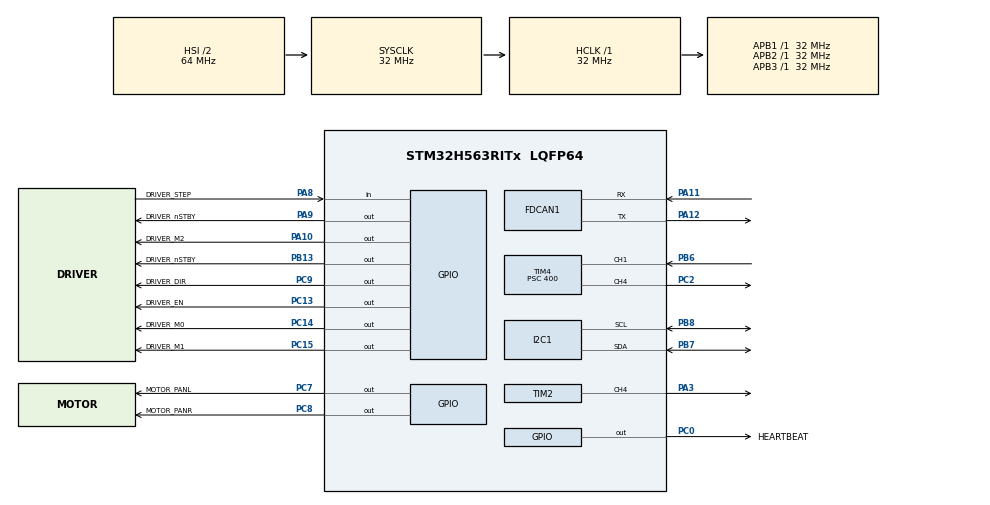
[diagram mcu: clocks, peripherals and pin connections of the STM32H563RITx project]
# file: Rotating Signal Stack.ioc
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BOOTPATH.BootPathName=LEGACY
BOOTPATH.UserSelectedBootPath=LEGACY
CORTEX_M33_NS.Number-Cortex_Memory_Protection_Unit_Region0_OTP_RO_AREAS_Settings=MPU_REGION_NUMBER0
CORTEX_M33_NS.default_mode_Activation=1
CORTEX_M33_NS.userName=CORTEX_M33
FDCAN1.CalculateBaudRateNominal=1791666
FDCAN1.CalculateTimeBitNominal=558
FDCAN1.CalculateTimeQuantumNominal=186.04651162790697
I2C1.Timing=0x00707CBB
Mcu.Family=STM32H5
Mcu.Name=STM32H563RITx
Mcu.Package=LQFP64
NVIC.PriorityGroup=NVIC_PRIORITYGROUP_4
NVIC.TIM2_IRQn=true\:0\:0\:false\:false\:true\:true\:true\:true
PA10.GPIO_Label=DRIVER_M2
PA10.Signal=GPIO_Output
PA11.Mode=FDCAN_Activate
PA11.Signal=FDCAN1_RX
PA12.Mode=FDCAN_Activate
PA12.Signal=FDCAN1_TX
PA13(JTMS/SWDIO).Mode=JTAG_4_pins
PA13(JTMS/SWDIO).Signal=DEBUG_JTMS-SWDIO
PA14(JTCK/SWCLK).Mode=JTAG_4_pins
PA14(JTCK/SWCLK).Signal=DEBUG_JTCK-SWCLK
PA15(JTDI).Mode=JTAG_4_pins
PA15(JTDI).Signal=DEBUG_JTDI
PA3.Signal=S_TIM2_CH4
PA8.GPIO_Label=DRIVER_STEP
PA8.Signal=GPIO_Input
PA9.GPIO_Label=DRIVER_nSTBY
PA9.Signal=GPIO_Output
PB13.GPIO_Label=DRIVER_nSTBY
PB13.Signal=GPIO_Output
PB3(JTDO/TRACESWO).Mode=JTAG_4_pins
PB3(JTDO/TRACESWO).Signal=DEBUG_JTDO-SWO
PB6.Signal=S_TIM4_CH1
PB7.Mode=I2C
PB7.Signal=I2C1_SDA
PB8.Mode=I2C
PB8.Signal=I2C1_SCL
PC0.GPIO_Label=HEARTBEAT
PC0.PinState=GPIO_PIN_SET
PC0.Signal=GPIO_Output
PC13.GPIO_Label=DRIVER_EN
PC13.Signal=GPIO_Output
PC14-OSC32_IN(OSC32_IN).GPIO_Label=DRIVER_M0
PC14-OSC32_IN(OSC32_IN).Signal=GPIO_Output
PC15-OSC32_OUT(OSC32_OUT).GPIO_Label=DRIVER_M1
PC15-OSC32_OUT(OSC32_OUT).Signal=GPIO_Output
PC2.Signal=S_TIM4_CH4
PC7.GPIO_Label=MOTOR_PANL
PC7.Signal=GPIO_Output
PC8.GPIO_Label=MOTOR_PANR
PC8.Signal=GPIO_Output
PC9.GPIO_Label=DRIVER_DIR
PC9.Signal=GPIO_Output
ProjectManager.HeapSize=0x200
ProjectManager.StackSize=0x400
ProjectManager.TargetToolchain=STM32CubeIDE
RCC.ADCFreq_Value=32000000
RCC.AHBFreq_Value=32000000
RCC.APB1Freq_Value=32000000
RCC.APB1TimFreq_Value=32000000
RCC.APB2Freq_Value=32000000
RCC.APB2TimFreq_Value=32000000
RCC.APB3Freq_Value=32000000
RCC.CSI_VALUE=4000000
RCC.CortexFreq_Value=32000000
RCC.EPOD_VALUE=4000000
RCC.FDCANClockSelection=RCC_FDCANCLKSOURCE_PLL1Q
RCC.HCLKFreq_Value=32000000
RCC.HSE_VALUE=25000000
RCC.HSI48_VALUE=48000000
RCC.HSI_VALUE=64000000
RCC.LSE_VALUE=32768
RCC.LSIRC_VALUE=32000
RCC.PLL1Q=6
RCC.SYSCLKFreq_VALUE=32000000
RCC.USBFreq_Value=48000000
RCC.VCOOutputFreq_Value=516000000
SH.S_TIM2_CH4.0=TIM2_CH4,PWM Generation4 CH4
SH.S_TIM4_CH1.0=TIM4_CH1,PWM_Input_1
SH.S_TIM4_CH4.0=TIM4_CH4,PWM Generation4 CH4
TIM2.Channel-PWM\ Generation4\ CH4=TIM_CHANNEL_4
TIM2.PeriodNoDither=(32000000/20000) 
TIM2.Prescaler=20000
TIM4.Channel-PWM\ Generation4\ CH4=TIM_CHANNEL_4
TIM4.PeriodNoDither=300
TIM4.Prescaler=400
VP_BOOTPATH_VS_BOOTPATH.Mode=BP_Activate
VP_CORTEX_M33_NS_VS_Hclk.Mode=Hclk_Mode
VP_ICACHE_VS_ICACHE.Mode=DirectMappedCache
VP_MEMORYMAP_VS_MEMORYMAP.Mode=CurAppReg
VP_PWR_VS_LPOM.Mode=PowerOptimisation
VP_PWR_VS_SECSignals.Mode=Security/Privilege
VP_TIM2_VS_ClockSourceINT.Mode=Internal
VP_TIM4_VS_ClockSourceINT.Mode=Internal
board=custom

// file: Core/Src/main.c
/* USER CODE BEGIN Header */
/**
  ******************************************************************************
  * @file           : main.c
  * @brief          : Main program body
  ******************************************************************************
  * @attention
  *
  * Copyright (c) 2026 STMicroelectronics.
  * All rights reserved.
  *
  * This software is licensed under terms that can be found in the LICENSE file
  * in the root directory of this software component.
  * If no LICENSE file comes with this software, it is provided AS-IS.
  *
  ******************************************************************************
  */
/* USER CODE END Header */
#include "main.h"

/* USER CODE BEGIN PD */
#define TIM_DAY 1
/* USER CODE END PD */

FDCAN_HandleTypeDef hfdcan1;

I2C_HandleTypeDef hi2c1;

TIM_HandleTypeDef htim2;
TIM_HandleTypeDef htim4;

void SystemClock_Config(void);
static void MPU_Config(void);
static void MX_GPIO_Init(void);
static void MX_ICACHE_Init(void);
static void MX_FDCAN1_Init(void);
static void MX_I2C1_Init(void);
static void MX_TIM2_Init(void);
static void MX_TIM4_Init(void);
/* USER CODE BEGIN PFP */
void HAL_TIM_PeriodElapsedCallback(TIM_HandleTypeDef *htim) {
    if (htim->Instance == TIM2) {
    	HAL_GPIO_TogglePin(HEARTBEAT_GPIO_Port, HEARTBEAT_Pin);

    }
}
/* USER CODE END PFP */

int main(void)
{

  /* MCU Configuration--------------------------------------------------------*/

  /* MPU Configuration--------------------------------------------------------*/
  MPU_Config();

  /* Reset of all peripherals, Initializes the Flash interface and the Systick. */
  HAL_Init();

  /* Configure the system clock */
  SystemClock_Config();

  /* Initialize all configured peripherals */
  MX_GPIO_Init();
  MX_ICACHE_Init();
  MX_FDCAN1_Init();
  MX_I2C1_Init();
  MX_TIM2_Init();
  MX_TIM4_Init();
  /* USER CODE BEGIN 2 */
  HAL_TIM_Base_Start_IT(&htim2);
  __HAL_RCC_TIM2_CLK_ENABLE();
  HAL_GPIO_WritePin(DRIVER_M0_GPIO_Port, DRIVER_M0_Pin, GPIO_PIN_RESET);
  HAL_GPIO_WritePin(DRIVER_M1_GPIO_Port, DRIVER_M1_Pin, GPIO_PIN_RESET);
  HAL_GPIO_WritePin(DRIVER_M2_GPIO_Port, DRIVER_M2_Pin, GPIO_PIN_RESET);
  HAL_GPIO_WritePin(DRIVER_DIRECTION_GPIO_Port, DRIVER_DIRECTION_Pin, GPIO_PIN_SET);
  HAL_GPIO_WritePin(DRIVER_nSTBY_GPIO_Port, DRIVER_nSTBY_Pin, GPIO_PIN_SET);
  HAL_GPIO_WritePin(DRIVER_EN_GPIO_Port, DRIVER_EN_Pin, GPIO_PIN_SET);
  HAL_TIM_PWM_Start(&htim4, TIM_CHANNEL_4);
  __HAL_TIM_SET_COMPARE(&htim4, TIM_CHANNEL_4, 50);
  /* USER CODE END 2 */

  /* Infinite loop */
  /* USER CODE BEGIN WHILE */
  while (TIM_DAY)
  {
    /* USER CODE END WHILE */

  }
}

void SystemClock_Config(void)
{
  RCC_OscInitTypeDef RCC_OscInitStruct = {0};
  RCC_ClkInitTypeDef RCC_ClkInitStruct = {0};

  /** Configure the main internal regulator output voltage
  */
  __HAL_PWR_VOLTAGESCALING_CONFIG(PWR_REGULATOR_VOLTAGE_SCALE3);

  while(!__HAL_PWR_GET_FLAG(PWR_FLAG_VOSRDY)) {}

  /** Initializes the RCC Oscillators according to the specified parameters
  * in the RCC_OscInitTypeDef structure.
  */
  RCC_OscInitStruct.OscillatorType = RCC_OSCILLATORTYPE_HSI|RCC_OSCILLATORTYPE_CSI;
  RCC_OscInitStruct.HSIState = RCC_HSI_ON;
  RCC_OscInitStruct.HSIDiv = RCC_HSI_DIV2;
  RCC_OscInitStruct.HSICalibrationValue = RCC_HSICALIBRATION_DEFAULT;
  RCC_OscInitStruct.CSIState = RCC_CSI_ON;
  RCC_OscInitStruct.CSICalibrationValue = RCC_CSICALIBRATION_DEFAULT;
  RCC_OscInitStruct.PLL.PLLState = RCC_PLL_ON;
  RCC_OscInitStruct.PLL.PLLSource = RCC_PLL1_SOURCE_CSI;
  RCC_OscInitStruct.PLL.PLLM = 1;
  RCC_OscInitStruct.PLL.PLLN = 129;
  RCC_OscInitStruct.PLL.PLLP = 2;
  RCC_OscInitStruct.PLL.PLLQ = 6;
  RCC_OscInitStruct.PLL.PLLR = 2;
  RCC_OscInitStruct.PLL.PLLRGE = RCC_PLL1_VCIRANGE_2;
  RCC_OscInitStruct.PLL.PLLVCOSEL = RCC_PLL1_VCORANGE_WIDE;
  RCC_OscInitStruct.PLL.PLLFRACN = 0;
  if (HAL_RCC_OscConfig(&RCC_OscInitStruct) != HAL_OK)
  {
    Error_Handler();
  }

  /** Initializes the CPU, AHB and APB buses clocks
  */
  RCC_ClkInitStruct.ClockType = RCC_CLOCKTYPE_HCLK|RCC_CLOCKTYPE_SYSCLK
                              |RCC_CLOCKTYPE_PCLK1|RCC_CLOCKTYPE_PCLK2
                              |RCC_CLOCKTYPE_PCLK3;
  RCC_ClkInitStruct.SYSCLKSource = RCC_SYSCLKSOURCE_HSI;
  RCC_ClkInitStruct.AHBCLKDivider = RCC_SYSCLK_DIV1;
  RCC_ClkInitStruct.APB1CLKDivider = RCC_HCLK_DIV1;
  RCC_ClkInitStruct.APB2CLKDivider = RCC_HCLK_DIV1;
  RCC_ClkInitStruct.APB3CLKDivider = RCC_HCLK_DIV1;

  if (HAL_RCC_ClockConfig(&RCC_ClkInitStruct, FLASH_LATENCY_1) != HAL_OK)
  {
    Error_Handler();
  }

  /** Configure the programming delay
  */
  __HAL_FLASH_SET_PROGRAM_DELAY(FLASH_PROGRAMMING_DELAY_0);
}

static void MX_FDCAN1_Init(void)
{

  hfdcan1.Instance = FDCAN1;
  hfdcan1.Init.ClockDivider = FDCAN_CLOCK_DIV1;
  hfdcan1.Init.FrameFormat = FDCAN_FRAME_CLASSIC;
  hfdcan1.Init.Mode = FDCAN_MODE_NORMAL;
  hfdcan1.Init.AutoRetransmission = DISABLE;
  hfdcan1.Init.TransmitPause = DISABLE;
  hfdcan1.Init.ProtocolException = DISABLE;
  hfdcan1.Init.NominalPrescaler = 16;
  hfdcan1.Init.NominalSyncJumpWidth = 1;
  hfdcan1.Init.NominalTimeSeg1 = 1;
  hfdcan1.Init.NominalTimeSeg2 = 1;
  hfdcan1.Init.DataPrescaler = 1;
  hfdcan1.Init.DataSyncJumpWidth = 1;
  hfdcan1.Init.DataTimeSeg1 = 1;
  hfdcan1.Init.DataTimeSeg2 = 1;
  hfdcan1.Init.StdFiltersNbr = 0;
  hfdcan1.Init.ExtFiltersNbr = 0;
  hfdcan1.Init.TxFifoQueueMode = FDCAN_TX_FIFO_OPERATION;
  if (HAL_FDCAN_Init(&hfdcan1) != HAL_OK)
  {
    Error_Handler();
  }

}

static void MX_I2C1_Init(void)
{

  hi2c1.Instance = I2C1;
  hi2c1.Init.Timing = 0x00707CBB;
  hi2c1.Init.OwnAddress1 = 0;
  hi2c1.Init.AddressingMode = I2C_ADDRESSINGMODE_7BIT;
  hi2c1.Init.DualAddressMode = I2C_DUALADDRESS_DISABLE;
  hi2c1.Init.OwnAddress2 = 0;
  hi2c1.Init.OwnAddress2Masks = I2C_OA2_NOMASK;
  hi2c1.Init.GeneralCallMode = I2C_GENERALCALL_DISABLE;
  hi2c1.Init.NoStretchMode = I2C_NOSTRETCH_DISABLE;
  if (HAL_I2C_Init(&hi2c1) != HAL_OK)
  {
    Error_Handler();
  }

  /** Configure Analogue filter
  */
  if (HAL_I2CEx_ConfigAnalogFilter(&hi2c1, I2C_ANALOGFILTER_ENABLE) != HAL_OK)
  {
    Error_Handler();
  }

  /** Configure Digital filter
  */
  if (HAL_I2CEx_ConfigDigitalFilter(&hi2c1, 0) != HAL_OK)
  {
    Error_Handler();
  }

}

static void MX_ICACHE_Init(void)
{

  /** Enable instruction cache in 1-way (direct mapped cache)
  */
  if (HAL_ICACHE_ConfigAssociativityMode(ICACHE_1WAY) != HAL_OK)
  {
    Error_Handler();
  }
  if (HAL_ICACHE_Enable() != HAL_OK)
  {
    Error_Handler();
  }

}

static void MX_TIM2_Init(void)
{

  TIM_ClockConfigTypeDef sClockSourceConfig = {0};
  TIM_MasterConfigTypeDef sMasterConfig = {0};
  TIM_OC_InitTypeDef sConfigOC = {0};

  htim2.Instance = TIM2;
  htim2.Init.Prescaler = 20000;
  htim2.Init.CounterMode = TIM_COUNTERMODE_UP;
  htim2.Init.Period = 1600;
  htim2.Init.ClockDivision = TIM_CLOCKDIVISION_DIV1;
  htim2.Init.AutoReloadPreload = TIM_AUTORELOAD_PRELOAD_DISABLE;
  if (HAL_TIM_Base_Init(&htim2) != HAL_OK)
  {
    Error_Handler();
  }
  sClockSourceConfig.ClockSource = TIM_CLOCKSOURCE_INTERNAL;
  if (HAL_TIM_ConfigClockSource(&htim2, &sClockSourceConfig) != HAL_OK)
  {
    Error_Handler();
  }
  if (HAL_TIM_PWM_Init(&htim2) != HAL_OK)
  {
    Error_Handler();
  }
  sMasterConfig.MasterOutputTrigger = TIM_TRGO_RESET;
  sMasterConfig.MasterSlaveMode = TIM_MASTERSLAVEMODE_DISABLE;
  if (HAL_TIMEx_MasterConfigSynchronization(&htim2, &sMasterConfig) != HAL_OK)
  {
    Error_Handler();
  }
  sConfigOC.OCMode = TIM_OCMODE_PWM1;
  sConfigOC.Pulse = 0;
  sConfigOC.OCPolarity = TIM_OCPOLARITY_HIGH;
  sConfigOC.OCFastMode = TIM_OCFAST_DISABLE;
  if (HAL_TIM_PWM_ConfigChannel(&htim2, &sConfigOC, TIM_CHANNEL_4) != HAL_OK)
  {
    Error_Handler();
  }
  HAL_TIM_MspPostInit(&htim2);

}

static void MX_TIM4_Init(void)
{

  TIM_ClockConfigTypeDef sClockSourceConfig = {0};
  TIM_SlaveConfigTypeDef sSlaveConfig = {0};
  TIM_IC_InitTypeDef sConfigIC = {0};
  TIM_MasterConfigTypeDef sMasterConfig = {0};
  TIM_OC_InitTypeDef sConfigOC = {0};

  htim4.Instance = TIM4;
  htim4.Init.Prescaler = 400;
  htim4.Init.CounterMode = TIM_COUNTERMODE_UP;
  htim4.Init.Period = 300;
  htim4.Init.ClockDivision = TIM_CLOCKDIVISION_DIV1;
  htim4.Init.AutoReloadPreload = TIM_AUTORELOAD_PRELOAD_DISABLE;
  if (HAL_TIM_Base_Init(&htim4) != HAL_OK)
  {
    Error_Handler();
  }
  sClockSourceConfig.ClockSource = TIM_CLOCKSOURCE_INTERNAL;
  if (HAL_TIM_ConfigClockSource(&htim4, &sClockSourceConfig) != HAL_OK)
  {
    Error_Handler();
  }
  if (HAL_TIM_PWM_Init(&htim4) != HAL_OK)
  {
    Error_Handler();
  }
  if (HAL_TIM_IC_Init(&htim4) != HAL_OK)
  {
    Error_Handler();
  }
  sSlaveConfig.SlaveMode = TIM_SLAVEMODE_RESET;
  sSlaveConfig.InputTrigger = TIM_TS_TI1FP1;
  sSlaveConfig.TriggerPolarity = TIM_INPUTCHANNELPOLARITY_RISING;
  sSlaveConfig.TriggerPrescaler = TIM_ICPSC_DIV1;
  sSlaveConfig.TriggerFilter = 0;
  if (HAL_TIM_SlaveConfigSynchro(&htim4, &sSlaveConfig) != HAL_OK)
  {
    Error_Handler();
  }
  sConfigIC.ICPolarity = TIM_INPUTCHANNELPOLARITY_RISING;
  sConfigIC.ICSelection = TIM_ICSELECTION_DIRECTTI;
  sConfigIC.ICPrescaler = TIM_ICPSC_DIV1;
  sConfigIC.ICFilter = 0;
  if (HAL_TIM_IC_ConfigChannel(&htim4, &sConfigIC, TIM_CHANNEL_1) != HAL_OK)
  {
    Error_Handler();
  }
  sConfigIC.ICPolarity = TIM_INPUTCHANNELPOLARITY_FALLING;
  sConfigIC.ICSelection = TIM_ICSELECTION_INDIRECTTI;
  if (HAL_TIM_IC_ConfigChannel(&htim4, &sConfigIC, TIM_CHANNEL_2) != HAL_OK)
  {
    Error_Handler();
  }
  sMasterConfig.MasterOutputTrigger = TIM_TRGO_RESET;
  sMasterConfig.MasterSlaveMode = TIM_MASTERSLAVEMODE_DISABLE;
  if (HAL_TIMEx_MasterConfigSynchronization(&htim4, &sMasterConfig) != HAL_OK)
  {
    Error_Handler();
  }
  sConfigOC.OCMode = TIM_OCMODE_PWM1;
  sConfigOC.Pulse = 0;
  sConfigOC.OCPolarity = TIM_OCPOLARITY_HIGH;
  sConfigOC.OCFastMode = TIM_OCFAST_DISABLE;
  if (HAL_TIM_PWM_ConfigChannel(&htim4, &sConfigOC, TIM_CHANNEL_4) != HAL_OK)
  {
    Error_Handler();
  }
  HAL_TIM_MspPostInit(&htim4);

}

static void MX_GPIO_Init(void)
{
  GPIO_InitTypeDef GPIO_InitStruct = {0};

  /* GPIO Ports Clock Enable */
  __HAL_RCC_GPIOC_CLK_ENABLE();
  __HAL_RCC_GPIOH_CLK_ENABLE();
  __HAL_RCC_GPIOA_CLK_ENABLE();
  __HAL_RCC_GPIOB_CLK_ENABLE();

  /*Configure GPIO pin Output Level */
  HAL_GPIO_WritePin(GPIOC, DRIVER_EN_Pin|DRIVER_M0_Pin|DRIVER_M1_Pin, GPIO_PIN_RESET);

  /*Configure GPIO pin Output Level */
  HAL_GPIO_WritePin(DRIVER_M2_GPIO_Port, DRIVER_M2_Pin, GPIO_PIN_RESET);

  /*Configure GPIO pin Output Level */
  HAL_GPIO_WritePin(HEARTBEAT_GPIO_Port, HEARTBEAT_Pin, GPIO_PIN_SET);

  /*Configure GPIO pin Output Level */
  HAL_GPIO_WritePin(DRIVER_nSTBY_GPIO_Port, DRIVER_nSTBY_Pin, GPIO_PIN_RESET);

  /*Configure GPIO pin Output Level */
  HAL_GPIO_WritePin(DRIVER_DIRECTION_GPIO_Port, DRIVER_DIRECTION_Pin, GPIO_PIN_RESET);

  /*Configure GPIO pins : DRIVER_EN_Pin DRIVER_M0_Pin DRIVER_M1_Pin HEARTBEAT_Pin */
  GPIO_InitStruct.Pin = DRIVER_EN_Pin|DRIVER_M0_Pin|DRIVER_M1_Pin|HEARTBEAT_Pin;
  GPIO_InitStruct.Mode = GPIO_MODE_OUTPUT_PP;
  GPIO_InitStruct.Pull = GPIO_NOPULL;
  GPIO_InitStruct.Speed = GPIO_SPEED_FREQ_LOW;
  HAL_GPIO_Init(GPIOC, &GPIO_InitStruct);

  /*Configure GPIO pin : DRIVER_M2_Pin */
  GPIO_InitStruct.Pin = DRIVER_M2_Pin;
  GPIO_InitStruct.Mode = GPIO_MODE_OUTPUT_PP;
  GPIO_InitStruct.Pull = GPIO_NOPULL;
  GPIO_InitStruct.Speed = GPIO_SPEED_FREQ_LOW;
  HAL_GPIO_Init(DRIVER_M2_GPIO_Port, &GPIO_InitStruct);

  /*Configure GPIO pin : DRIVER_nSTBY_Pin */
  GPIO_InitStruct.Pin = DRIVER_nSTBY_Pin;
  GPIO_InitStruct.Mode = GPIO_MODE_OUTPUT_PP;
  GPIO_InitStruct.Pull = GPIO_NOPULL;
  GPIO_InitStruct.Speed = GPIO_SPEED_FREQ_LOW;
  HAL_GPIO_Init(DRIVER_nSTBY_GPIO_Port, &GPIO_InitStruct);

  /*Configure GPIO pin : PA8 */
  GPIO_InitStruct.Pin = GPIO_PIN_8;
  GPIO_InitStruct.Mode = GPIO_MODE_INPUT;
  GPIO_InitStruct.Pull = GPIO_NOPULL;
  HAL_GPIO_Init(GPIOA, &GPIO_InitStruct);

  /*Configure GPIO pin : DRIVER_DIRECTION_Pin */
  GPIO_InitStruct.Pin = DRIVER_DIRECTION_Pin;
  GPIO_InitStruct.Mode = GPIO_MODE_OUTPUT_PP;
  GPIO_InitStruct.Pull = GPIO_NOPULL;
  GPIO_InitStruct.Speed = GPIO_SPEED_FREQ_LOW;
  HAL_GPIO_Init(DRIVER_DIRECTION_GPIO_Port, &GPIO_InitStruct);

}

 /* MPU Configuration */

void MPU_Config(void)
{
  MPU_Region_InitTypeDef MPU_InitStruct = {0};
  MPU_Attributes_InitTypeDef MPU_AttributesInit = {0};

  /* Disables the MPU */
  HAL_MPU_Disable();

  /** Initializes and configures the Region 0 and the memory to be protected
  */
  MPU_InitStruct.Enable = MPU_REGION_ENABLE;
  MPU_InitStruct.Number = MPU_REGION_NUMBER0;
  MPU_InitStruct.BaseAddress = 0x08FFF000;
  MPU_InitStruct.LimitAddress = 0x08FFFFFF;
  MPU_InitStruct.AttributesIndex = MPU_ATTRIBUTES_NUMBER0;
  MPU_InitStruct.AccessPermission = MPU_REGION_ALL_RO;
  MPU_InitStruct.DisableExec = MPU_INSTRUCTION_ACCESS_DISABLE;
  MPU_InitStruct.IsShareable = MPU_ACCESS_NOT_SHAREABLE;

  HAL_MPU_ConfigRegion(&MPU_InitStruct);

  /** Initializes and configures the Attribute 0 and the memory to be protected
  */
  MPU_AttributesInit.Number = MPU_ATTRIBUTES_NUMBER0;
  MPU_AttributesInit.Attributes = INNER_OUTER(MPU_NOT_CACHEABLE);

  HAL_MPU_ConfigMemoryAttributes(&MPU_AttributesInit);
  /* Enables the MPU */
  HAL_MPU_Enable(MPU_PRIVILEGED_DEFAULT);

}

void Error_Handler(void)
{
  __disable_irq();
  while (1)
  {
  }
}
